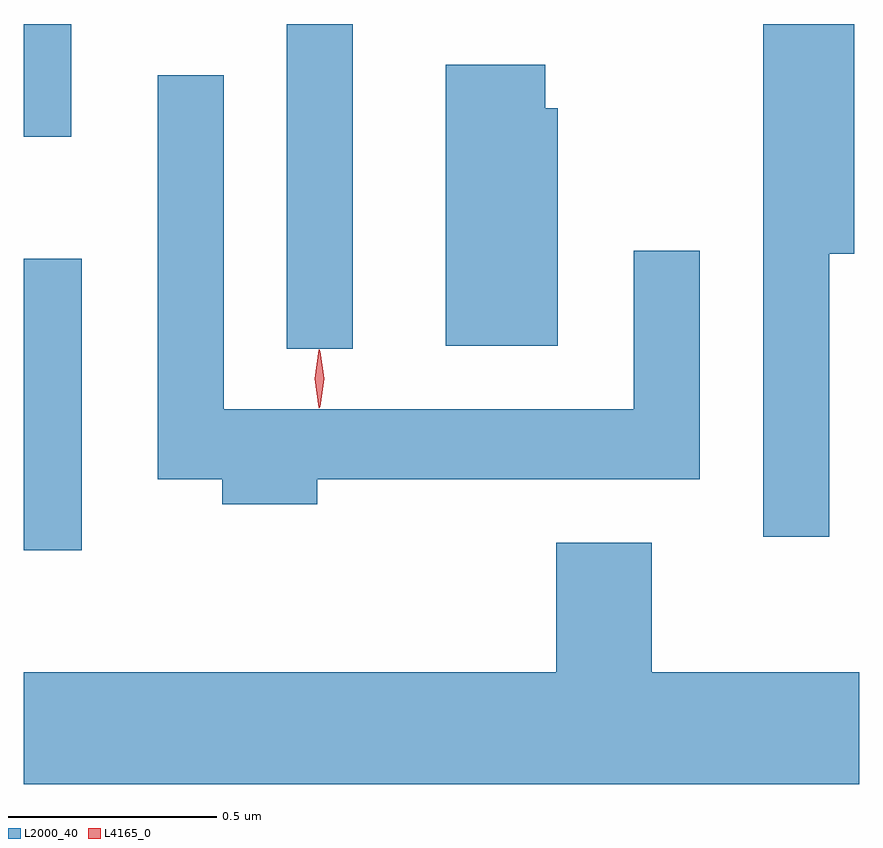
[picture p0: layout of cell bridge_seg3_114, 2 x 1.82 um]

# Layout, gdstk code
import gdstk
lib = gdstk.Library(unit=1e-6, precision=1e-09)
def R(c, l, rs):  # rectangles x0, y0, x1, y1
    for r in rs: c.add(gdstk.rectangle(r[:2], r[2:], *l))
def P(c, l, *ps):  # polygons
    for p in ps: c.add(gdstk.Polygon(p, *l))
L2000_40 = (2000, 40)
L4165_0 = (4165, 0)

bridge_seg3_114 = lib.new_cell('bridge_seg3_114')
R(bridge_seg3_114, L2000_40, [(1009.006,1210.936,1009.144,1211.634), (1009.636,1211.418,1009.794,1212.196), (1009.006,1211.926,1009.119,1212.196)])
P(bridge_seg3_114, L2000_40, [(1010.934,1211.646),(1010.994,1211.646),(1010.994,1212.196),(1010.776,1212.196),(1010.776,1210.968),(1010.934,1210.968)],
  [(1010.284,1211.994),(1010.254,1211.994),(1010.254,1212.099),(1010.016,1212.099),(1010.016,1211.426),(1010.284,1211.426)],
  [(1009.709,1211.106),(1010.624,1211.106),(1010.624,1211.653),(1010.466,1211.653),(1010.466,1211.274),(1009.484,1211.274),(1009.484,1212.073),(1009.326,1212.073),(1009.326,1211.106),(1009.481,1211.106),(1009.481,1211.046),(1009.709,1211.046)],
  [(1011.006,1210.644),(1010.509,1210.644),(1010.509,1210.954),(1010.281,1210.954),(1010.281,1210.644),(1009.006,1210.644),(1009.006,1210.376),(1011.006,1210.376)])
P(bridge_seg3_114, L4165_0, [(1009.712,1211.277),(1009.703,1211.347),(1009.712,1211.416),(1009.713,1211.416),(1009.714,1211.416),(1009.723,1211.347),(1009.714,1211.277),(1009.713,1211.277)],
  [(1009.715,1211.28),(1009.715,1211.28),(1009.705,1211.346),(1009.715,1211.412),(1009.715,1211.413),(1009.716,1211.412),(1009.725,1211.346),(1009.716,1211.28)])

lib.write_gds('bridge_seg3_114.gds')
